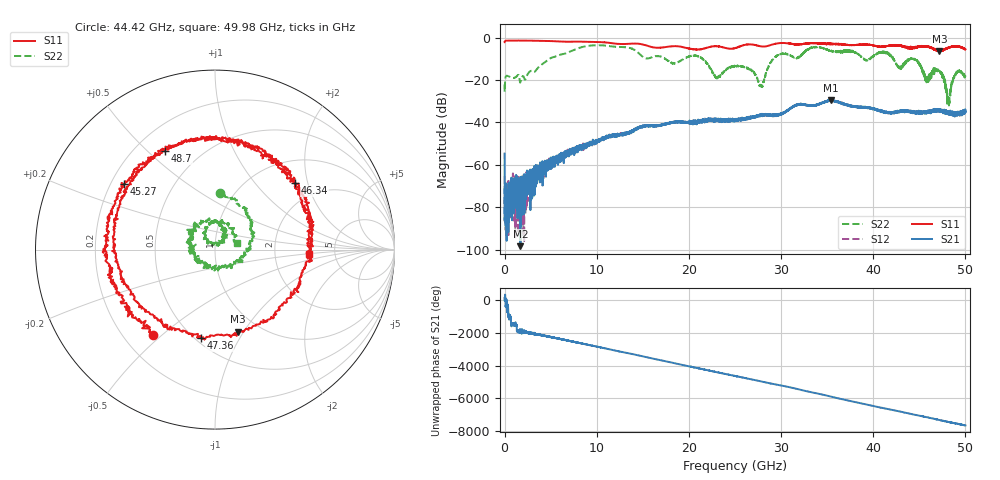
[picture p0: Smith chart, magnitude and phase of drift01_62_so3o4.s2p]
!Created with skrf (http://scikit-rf.org).
# Hz S RI R 50.0
!freq ReS11 ImS11 ReS21 ImS21 ReS12 ImS12 ReS22 ImS22
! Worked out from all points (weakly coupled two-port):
!   10001 points, 300 kHz to 50 GHz, reference 50 ohm
!   highest |S21| = -29.47 dB at 35.41 GHz (marker M1); lowest = -98.3 dB at 1.72 GHz (marker M2)
!   lowest |S11| = -6.5 dB at 47.18 GHz (marker M3), VSWR 2.80, Z = 39.9 - j47 ohm
!   |S11| at or under -10 dB: nowhere
!   |S22| runs from -32.5 to -3.6 dB; largest |S21 - S12| = 0.0048
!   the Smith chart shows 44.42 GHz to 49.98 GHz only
!   S11 on the Smith chart (normalised r, x): 44.42 GHz: 0.32, -0.47; 45.27 GHz: 0.25, +0.30; 46.34 GHz: 1.49, +1.67; 47.36 GHz: 0.53, -0.70; 48.7 GHz: 0.32, +0.57; 49.98 GHz: 3.21, -0.22
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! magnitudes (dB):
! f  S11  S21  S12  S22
! 300 kHz  -2.1  -54.7  -65.4  -22.1
! 255.3 MHz  -1.4  -77.5  -73.4  -18.0
! 1.72 GHz  -1.4  -98.3  -73.3  -20.9
! 8.335 GHz  -1.9  -51.2  -51.1  -4.5
! 16.67 GHz  -4.8  -41.5  -41.4  -8.7
! 20.99 GHz  -5.6  -39.4  -39.5  -8.7
! 23.1 GHz  -4.1  -38.7  -38.3  -18.8
! 25 GHz  -5.0  -39.0  -38.6  -13.5
! 27.85 GHz  -4.2  -36.7  -36.5  -23.4
! 29.44 GHz  -2.9  -36.9  -36.6  -8.9
! 33.34 GHz  -2.6  -32.2  -32.0  -4.8
! 35.41 GHz  -2.7  -29.5  -29.7  -6.3
! 41.67 GHz  -3.8  -35.7  -35.5  -8.0
! 44.42 GHz  -4.6  -35.6  -34.9  -10.0
! 45.27 GHz  -4.1  -35.4  -35.2  -14.0
! 46.34 GHz  -4.7  -34.9  -34.7  -16.9
! 47.18 GHz  -6.5  -34.1  -34.8  -15.9
! 47.36 GHz  -6.0  -34.8  -34.7  -16.7
! 48.16 GHz  -4.8  -36.3  -35.3  -28.4
! 48.7 GHz  -4.2  -35.8  -35.3  -19.3
! 49.98 GHz  -5.6  -35.0  -34.8  -18.0
! 50 GHz  -5.6  -35.1  -34.3  -18.1
